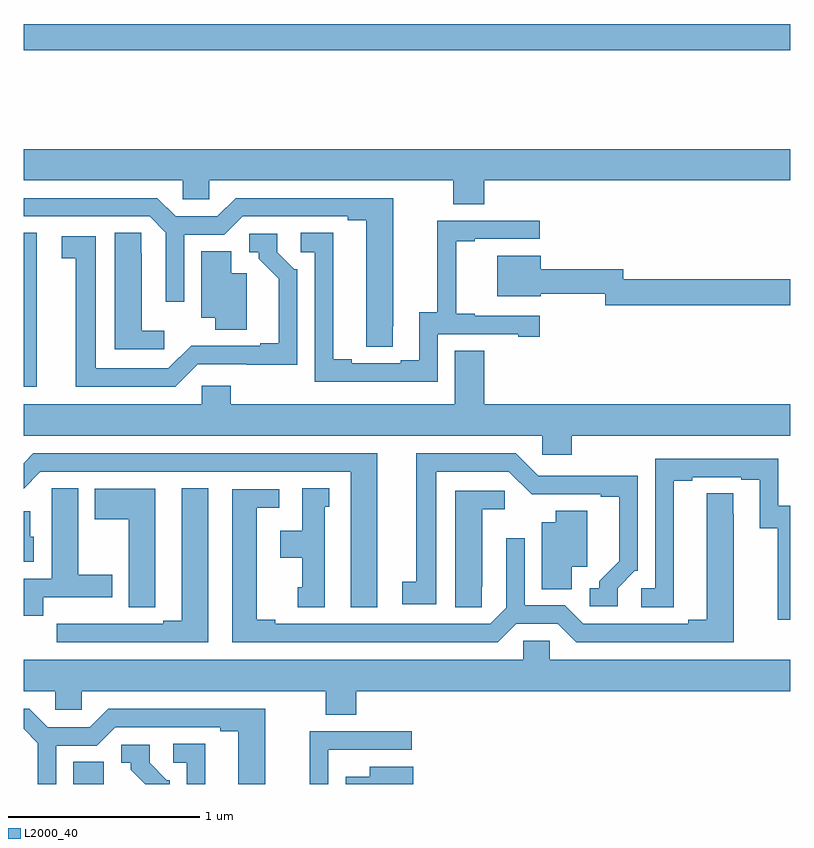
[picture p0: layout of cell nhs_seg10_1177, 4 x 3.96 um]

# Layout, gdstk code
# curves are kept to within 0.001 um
import gdstk
lib = gdstk.Library(unit=1e-6, precision=1e-09)
def R(c, l, rs):  # rectangles x0, y0, x1, y1
    for r in rs: c.add(gdstk.rectangle(r[:2], r[2:], *l))
def P(c, l, *ps):  # polygons
    for p in ps: c.add(gdstk.Polygon(p, *l))
L2000_40 = (2000, 40)

nhs_seg10_1177 = lib.new_cell('nhs_seg10_1177')
R(nhs_seg10_1177, L2000_40, [(171.26,1298.5,171.418,1298.615), (171,1300.572,171.07,1301.374), (171,1302.328,175,1302.464)])
P(nhs_seg10_1177, L2000_40, [(173.402,1301.648),(175,1301.648),(175,1301.812),(171,1301.812),(171,1301.648),(171.831,1301.648),(171.831,1301.55),(171.969,1301.55),(171.969,1301.648),(173.242,1301.648),(173.242,1301.524),(173.402,1301.524)],
  [(172.926,1300.888),(172.927,1301.556),(172.107,1301.556),(172.011,1301.46),(171.793,1301.46),(171.697,1301.556),(171,1301.556),(171,1301.46),(171.657,1301.46),(171.741,1301.376),(171.741,1301.016),(171.837,1301.016),(171.837,1301.364),(172.047,1301.364),(172.143,1301.46),(172.691,1301.46),(172.691,1301.44),(172.787,1301.44),(172.787,1300.78),(172.926,1300.78)],
  [(173.16,1300.845),(173.579,1300.845),(173.579,1300.833),(173.692,1300.833),(173.692,1300.941),(173.353,1300.941),(173.353,1300.954),(173.258,1300.954),(173.258,1301.331),(173.353,1301.331),(173.353,1301.343),(173.692,1301.343),(173.692,1301.439),(173.158,1301.439),(173.158,1300.961),(173.063,1300.961),(173.063,1300.71),(172.967,1300.71),(172.967,1300.695),(172.711,1300.695),(172.711,1300.715),(172.615,1300.715),(172.615,1301.375),(172.446,1301.375),(172.446,1301.274),(172.518,1301.274),(172.518,1300.599),(173.16,1300.599)],
  [(171.733,1300.864),(171.616,1300.864),(171.616,1301.267),(171.615,1301.267),(171.615,1301.375),(171.476,1301.375),(171.476,1300.767),(171.733,1300.767)],
  [(171.909,1300.689),(172.428,1300.688),(172.428,1301.184),(172.413,1301.184),(172.323,1301.274),(172.323,1301.37),(172.176,1301.37),(172.176,1301.274),(172.226,1301.274),(172.226,1301.239),(172.331,1301.134),(172.331,1300.798),(172.235,1300.798),(172.235,1300.785),(171.874,1300.786),(171.756,1300.668),(171.376,1300.668),(171.376,1301.358),(171.198,1301.358),(171.198,1301.242),(171.272,1301.242),(171.272,1300.572),(171.792,1300.572)],
  [(172.165,1301.164),(172.084,1301.164),(172.084,1301.279),(171.926,1301.279),(171.926,1300.931),(172.001,1300.931),(172.001,1300.87),(172.165,1300.87)],
  [(175,1301.132),(174.129,1301.132),(174.129,1301.185),(173.698,1301.185),(173.698,1301.254),(173.471,1301.254),(173.471,1301.045),(173.698,1301.045),(173.698,1301.056),(174.033,1301.056),(174.033,1300.996),(175,1300.996)],
  [(173.858,1300.316),(175,1300.316),(175,1300.48),(173.402,1300.48),(173.402,1300.76),(173.249,1300.76),(173.249,1300.48),(172.082,1300.48),(172.082,1300.578),(171.93,1300.578),(171.93,1300.48),(171,1300.48),(171,1300.316),(173.706,1300.316),(173.706,1300.218),(173.858,1300.218)],
  [(174.099,1299.522),(174.189,1299.612),(174.204,1299.612),(174.204,1300.109),(173.941,1300.109),(173.941,1300.107),(173.685,1300.107),(173.568,1300.224),(173.048,1300.224),(173.048,1299.554),(172.974,1299.554),(172.974,1299.438),(173.152,1299.438),(173.152,1300.128),(173.532,1300.128),(173.65,1300.01),(174.011,1300.011),(174.011,1299.999),(174.107,1299.999),(174.107,1299.662),(174.002,1299.557),(174.002,1299.522),(173.952,1299.522),(173.952,1299.426),(174.099,1299.426)],
  [(172.846,1300.224),(171.051,1300.224),(171,1300.173),(171,1300.041),(171.087,1300.128),(172.706,1300.128),(172.706,1299.423),(172.846,1299.423)],
  [(175,1299.951),(174.936,1299.951),(174.936,1300.197),(174.294,1300.197),(174.294,1299.522),(174.222,1299.522),(174.222,1299.421),(174.391,1299.421),(174.391,1300.081),(174.487,1300.081),(174.487,1300.101),(174.743,1300.101),(174.743,1300.086),(174.839,1300.086),(174.839,1299.835),(174.934,1299.835),(174.934,1299.357),(175,1299.357)],
  [(171.964,1300.043),(171.824,1300.043),(171.824,1299.351),(171.728,1299.351),(171.728,1299.336),(171.452,1299.336),(171.452,1299.337),(171.286,1299.337),(171.286,1299.336),(171.174,1299.336),(171.174,1299.24),(171.964,1299.24)],
  [(171.104,1299.474),(171.463,1299.474),(171.463,1299.591),(171.286,1299.591),(171.286,1300.043),(171.147,1300.043),(171.147,1299.932),(171.146,1299.932),(171.146,1299.57),(171,1299.57),(171,1299.378),(171.104,1299.378)],
  [(172.57,1299.945),(172.594,1299.945),(172.594,1300.043),(172.454,1300.043),(172.454,1299.82),(172.34,1299.82),(172.34,1299.68),(172.454,1299.68),(172.454,1299.525),(172.43,1299.525),(172.43,1299.423),(172.57,1299.423)],
  [(171.687,1299.529),(171.688,1299.529),(171.688,1300.039),(171.371,1300.039),(171.371,1299.88),(171.548,1299.88),(171.548,1299.421),(171.687,1299.421)],
  [(173.569,1299.336),(173.787,1299.336),(173.883,1299.24),(174.703,1299.24),(174.702,1300.016),(174.563,1300.016),(174.563,1299.356),(174.467,1299.356),(174.467,1299.336),(173.919,1299.336),(173.823,1299.432),(173.613,1299.432),(173.613,1299.781),(173.517,1299.781),(173.517,1299.42),(173.433,1299.336),(172.312,1299.336),(172.312,1299.356),(172.216,1299.356),(172.216,1299.942),(172.333,1299.942),(172.333,1300.038),(172.088,1300.038),(172.088,1299.24),(173.473,1299.24)],
  [(173.391,1299.529),(173.392,1299.529),(173.392,1299.932),(173.509,1299.932),(173.509,1300.029),(173.252,1300.029),(173.252,1299.421),(173.391,1299.421)],
  [(173.86,1299.632),(173.941,1299.632),(173.941,1299.926),(173.777,1299.926),(173.777,1299.865),(173.702,1299.865),(173.702,1299.517),(173.86,1299.517)],
  [(171.052,1299.789),(171.034,1299.789),(171.034,1299.922),(171,1299.922),(171,1299.659),(171.052,1299.659)],
  [(172.736,1298.984),(175,1298.984),(175,1299.148),(173.745,1299.148),(173.745,1299.246),(173.607,1299.246),(173.607,1299.148),(171,1299.148),(171,1298.984),(171.165,1298.984),(171.165,1298.886),(171.303,1298.886),(171.303,1298.984),(172.576,1298.984),(172.576,1298.86),(172.736,1298.86)],
  [(171.171,1298.7),(171.381,1298.7),(171.477,1298.796),(172.025,1298.796),(172.025,1298.776),(172.121,1298.776),(172.121,1298.5),(172.261,1298.5),(172.261,1298.892),(171.441,1298.892),(171.345,1298.796),(171.127,1298.796),(171.031,1298.892),(171,1298.892),(171,1298.787),(171.075,1298.712),(171.075,1298.5),(171.171,1298.5)],
  [(172.59,1298.678),(172.592,1298.678),(172.592,1298.679),(173.026,1298.679),(173.026,1298.775),(172.492,1298.775),(172.492,1298.5),(172.59,1298.5)],
  [(171.949,1298.711),(171.78,1298.711),(171.78,1298.61),(171.852,1298.61),(171.852,1298.5),(171.949,1298.5)],
  [(171.762,1298.52),(171.747,1298.52),(171.657,1298.61),(171.657,1298.706),(171.51,1298.706),(171.51,1298.61),(171.56,1298.61),(171.56,1298.575),(171.635,1298.5),(171.762,1298.5)],
  [(173.032,1298.59),(172.805,1298.59),(172.805,1298.539),(172.68,1298.539),(172.68,1298.5),(173.032,1298.5)])

lib.write_gds('nhs_seg10_1177.gds')
